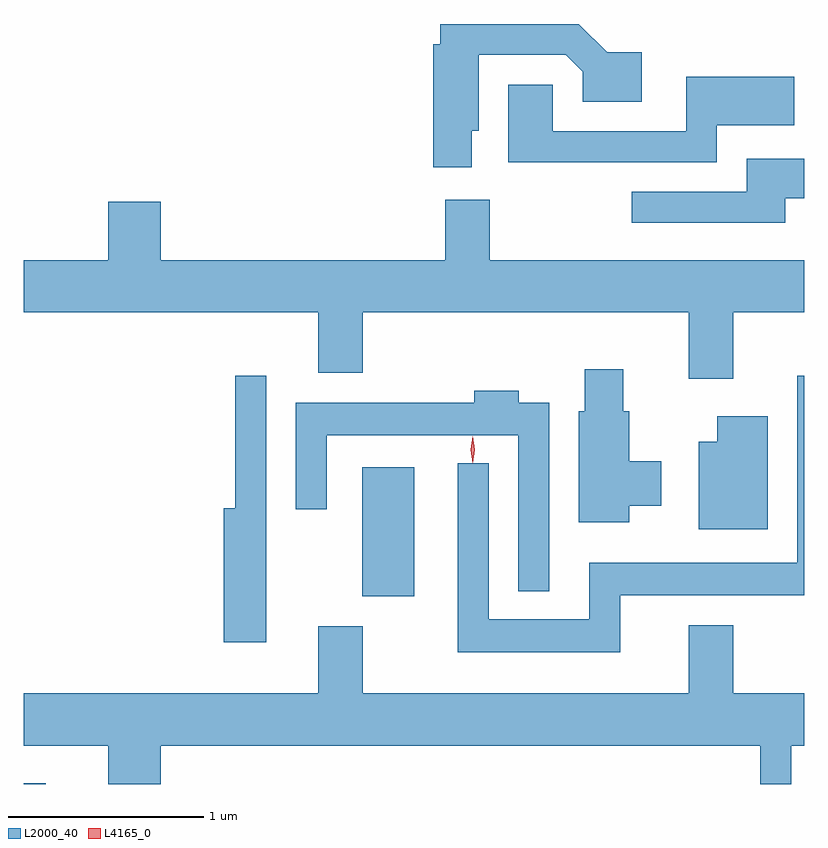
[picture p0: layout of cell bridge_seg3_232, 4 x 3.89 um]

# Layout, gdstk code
import gdstk
lib = gdstk.Library(unit=1e-6, precision=1e-09)
def R(c, l, rs):  # rectangles x0, y0, x1, y1
    for r in rs: c.add(gdstk.rectangle(r[:2], r[2:], *l))
def P(c, l, *ps):  # polygons
    for p in ps: c.add(gdstk.Polygon(p, *l))
L2000_40 = (2000, 40)
L4165_0 = (4165, 0)

bridge_seg3_232 = lib.new_cell('bridge_seg3_232')
R(bridge_seg3_232, L2000_40, [(973.882,1119.16,973.994,1119.164), (975.616,1120.121,975.884,1120.784)])
P(bridge_seg3_232, L2000_40, [(976.179,1122.506),(976.214,1122.506),(976.214,1122.896),(976.659,1122.896),(976.746,1122.809),(976.746,1122.656),(977.049,1122.656),(977.049,1122.909),(976.872,1122.909),(976.727,1123.054),(976.016,1123.054),(976.016,1122.949),(975.981,1122.949),(975.981,1122.321),(976.179,1122.321)],
  [(977.434,1122.536),(977.829,1122.536),(977.829,1122.784),(977.276,1122.784),(977.276,1122.504),(976.594,1122.504),(976.594,1122.744),(976.366,1122.744),(976.366,1122.346),(977.434,1122.346)],
  [(977.784,1122.161),(977.882,1122.161),(977.882,1122.364),(977.586,1122.364),(977.586,1122.194),(976.998,1122.194),(976.998,1122.036),(977.784,1122.036)],
  [(977.519,1121.576),(977.882,1121.576),(977.882,1121.844),(976.269,1121.844),(976.269,1122.154),(976.041,1122.154),(976.041,1121.844),(974.584,1121.844),(974.584,1122.144),(974.316,1122.144),(974.316,1121.844),(973.882,1121.844),(973.882,1121.576),(975.391,1121.576),(975.391,1121.266),(975.619,1121.266),(975.619,1121.576),(977.291,1121.576),(977.291,1121.236),(977.519,1121.236)],
  [(976.984,1120.586),(977.149,1120.586),(977.149,1120.814),(976.984,1120.814),(976.984,1121.069),(976.954,1121.069),(976.954,1121.284),(976.756,1121.284),(976.756,1121.069),(976.726,1121.069),(976.726,1120.501),(976.984,1120.501)],
  [(975.124,1121.253),(974.966,1121.253),(974.966,1120.574),(974.906,1120.574),(974.906,1119.886),(975.124,1119.886)],
  [(976.939,1120.126),(977.882,1120.126),(977.882,1121.253),(977.846,1121.253),(977.846,1120.294),(976.781,1120.294),(976.781,1120.004),(976.264,1120.004),(976.264,1120.803),(976.106,1120.803),(976.106,1119.836),(976.939,1119.836)],
  [(976.574,1121.114),(976.419,1121.114),(976.419,1121.174),(976.191,1121.174),(976.191,1121.114),(975.276,1121.114),(975.276,1120.568),(975.434,1120.568),(975.434,1120.946),(976.416,1120.946),(976.416,1120.148),(976.574,1120.148)],
  [(977.694,1121.044),(977.436,1121.044),(977.436,1120.914),(977.341,1120.914),(977.341,1120.466),(977.694,1120.466)],
  [(974.584,1119.356),(977.656,1119.356),(977.656,1119.16),(977.814,1119.16),(977.814,1119.356),(977.882,1119.356),(977.882,1119.624),(977.519,1119.624),(977.519,1119.974),(977.291,1119.974),(977.291,1119.624),(975.619,1119.624),(975.619,1119.969),(975.391,1119.969),(975.391,1119.624),(973.882,1119.624),(973.882,1119.356),(974.316,1119.356),(974.316,1119.16),(974.584,1119.16)])
P(bridge_seg3_232, L4165_0, [(976.183,1120.803),(976.182,1120.804),(976.173,1120.873),(976.182,1120.942),(976.183,1120.943),(976.183,1120.942),(976.193,1120.873),(976.183,1120.804)])

lib.write_gds('bridge_seg3_232.gds')
